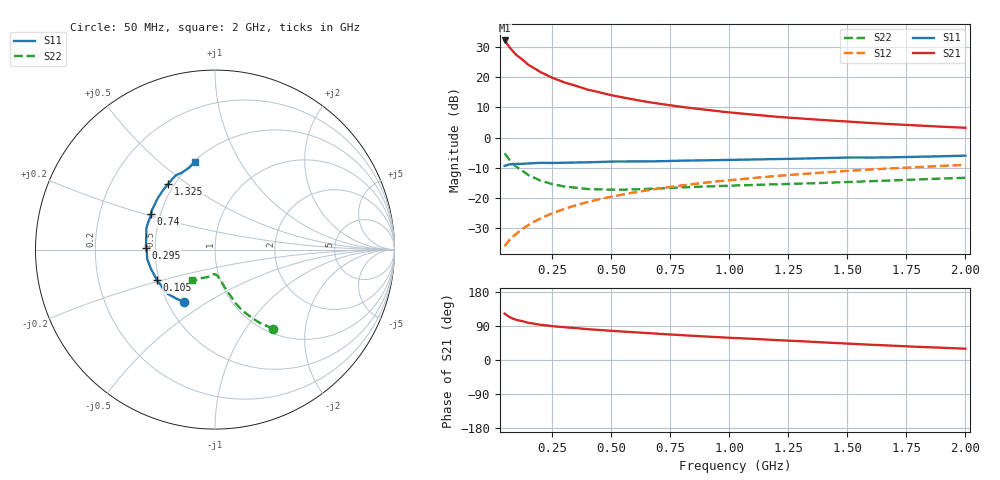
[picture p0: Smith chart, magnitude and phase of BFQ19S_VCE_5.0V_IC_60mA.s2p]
! Infineon Technologies  Discrete & RF Semiconductors
! BFQ19S
! VCE =  5.0 V,  IC =  60 mA
! Common Emitter S-Parameters:  Jan 2016
# GHz  S  MA  R  50
!  f  S11  S21  S12  S22
! GHz  MAG  ANG  MAG  ANG  MAG  ANG  MAG  ANG
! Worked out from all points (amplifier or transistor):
!   391 points, 50 MHz to 2 GHz, reference 50 ohm
!   highest |S21| = 32.2 dB at 50 MHz (marker M1)
!   |S21| within 3 dB of that: start of sweep to 78.79 MHz
!   unconditionally stable (mu >= 1): 242 MHz to 1.692 GHz
!   at 375 MHz: K = 1.02, MAG = 18.3 dB, |S12| = -21.9 dB
!   at 1.025 GHz: K = 1.03, MAG = 10.0 dB, |S12| = -13.9 dB
!   at 2 GHz: K = 0.97, MSG = 6.1 dB, |S12| = -9.0 dB
!   S11 on the Smith chart (normalised r, x): 50 MHz: 0.60, -0.40; 105 MHz: 0.49, -0.19; 295 MHz: 0.44, +0.01; 740 MHz: 0.44, +0.21; 1.325 GHz: 0.46, +0.43; 2 GHz: 0.51, +0.66
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0.05  0.34 -120.8  40.51 122.5  0.0159 66.8  0.5458 -53.8
0.06  0.349 -129.2  35.59 117.6  0.0178 66.7  0.4825 -58.3
0.07  0.3606 -136.8  31.56 113.7  0.02 67.8  0.4316 -61.6
0.08  0.3619 -142.5  28.29 110.4  0.0218 67.7  0.39 -64.5
0.09  0.3604 -147.1  25.56 107.8  0.0238 68.8  0.3555 -66.8
0.1  0.3658 -151.0  23.24 105.6  0.0257 69.6  0.3268 -68.6
0.105  0.3657 -152.3  22.5 105.1  0.0267 69.9  0.3179 -69.0
0.15  0.3727 -163.5  16.03 98.0  0.0355 72.1  0.2387 -74.0
0.2  0.3814 -172.1  12.21 93.1  0.0453 73.6  0.1944 -77.5
0.25  0.3796 -177.5  9.822 89.4  0.0552 74.0  0.1698 -80.3
0.295  0.3845 178.4  8.393 86.8  0.0642 73.8  0.1565 -82.2
0.375  0.3871 172.0  6.727 83.0  0.0802 73.4  0.1441 -85.4
0.4  0.3886 170.0  6.231 81.4  0.0852 73.3  0.1405 -86.5
0.5  0.4009 162.8  5.037 77.0  0.1047 72.2  0.1374 -89.9
0.6  0.4021 158.0  4.216 73.0  0.1239 70.6  0.1383 -93.4
0.7  0.4044 152.6  3.647 69.2  0.1429 69.1  0.1435 -96.6
0.74  0.4082 150.7  3.471 67.8  0.1502 68.4  0.146 -98.0
1.03  0.4295 137.5  2.544 57.9  0.202 63.4  0.1609 -106.9
1.325  0.4497 125.3  2.042 48.9  0.252 58.3  0.1737 -114.4
1.35  0.452 124.2  2.01 48.1  0.2562 57.9  0.1749 -114.9
1.675  0.47 111.3  1.674 38.3  0.307 52.0  0.1951 -120.3
2  0.5017 103.0  1.451 29.8  0.3531 46.5  0.2156 -127.2
